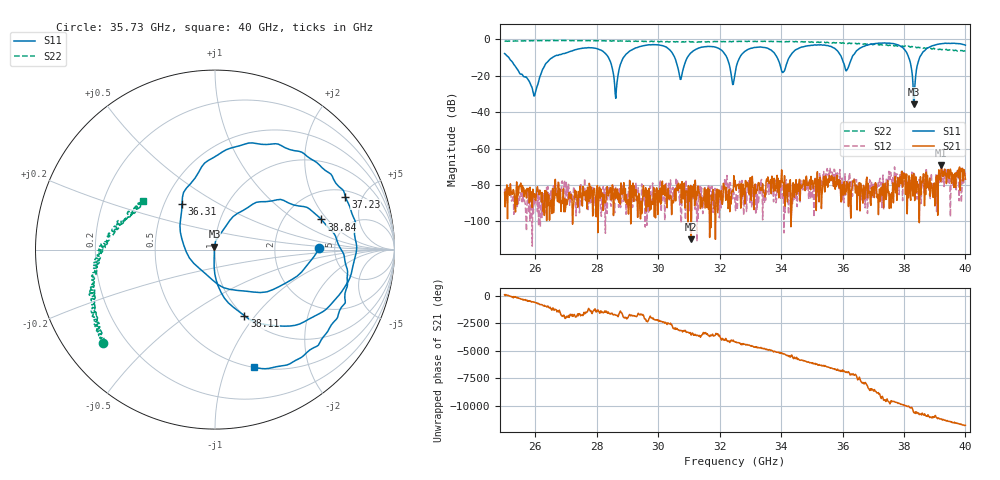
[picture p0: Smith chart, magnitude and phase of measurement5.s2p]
!Keysight Technologies,N5225A,MY55451607,A.10.47.03
!Date: Friday, May 31, 2024 11:14:08
!Correction: S11(Full 2 Port(1,2))
!S21(Full 2 Port(1,2))
!S12(Full 2 Port(1,2))
!S22(Full 2 Port(1,2))
!S2P File: Measurements: S11, S21, S12, S22:
# Hz S  RI  R 50
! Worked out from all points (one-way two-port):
!   801 points, 25 GHz to 40 GHz, reference 50 ohm
!   highest |S21| = -69.03 dB at 39.21 GHz (marker M1); lowest = -109.9 dB at 31.07 GHz (marker M2)
!   lowest |S11| = -35.7 dB at 38.33 GHz (marker M3), VSWR 1.03, Z = 49.7 + j1.59 ohm
!   |S11| at or under -10 dB: 25.14 GHz to 26.56 GHz (1.42 GHz wide, 5.49 % of centre); 28.38 GHz to 28.87 GHz (486.7 MHz wide, 1.7 % of centre); 32.24 GHz to 32.65 GHz (417.7 MHz wide, 1.29 % of centre) (the widest 3 of 7)
!   |S22| runs from -6.5 to -0.6 dB; largest |S21 - S12| = 0.00053
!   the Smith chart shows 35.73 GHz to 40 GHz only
!   S11 on the Smith chart (normalised r, x): 35.73 GHz: 3.73, +0.11; 36.31 GHz: 0.61, +0.35; 37.23 GHz: 2.38, +3.64; 38.11 GHz: 1.00, -0.88; 38.84 GHz: 3.20, +1.73; 40 GHz: 0.50, -1.26
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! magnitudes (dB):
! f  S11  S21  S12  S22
! 25 GHz  -7.8  -84.1  -82.0  -1.1
! 25.98 GHz  -30.9  -84.8  -91.1  -0.7
! 27.51 GHz  -4.9  -89.3  -88.2  -0.7
! 28.28 GHz  -7.8  -89.8  -106.5  -0.9
! 28.62 GHz  -32.4  -87.4  -80.7  -0.9
! 29.01 GHz  -7.4  -88.2  -92.3  -1.0
! 30.01 GHz  -3.0  -85.5  -84.8  -1.2
! 30.72 GHz  -22.0  -81.4  -85.1  -1.3
! 31.07 GHz  -7.3  -109.9  -80.5  -1.5
! 32.5 GHz  -18.8  -77.5  -88.8  -1.2
! 32.97 GHz  -5.2  -85.2  -86.4  -1.1
! 34.08 GHz  -18.0  -79.0  -85.0  -1.2
! 35.01 GHz  -3.3  -77.9  -87.3  -1.5
! 35.73 GHz  -4.8  -76.1  -71.4  -1.8
! 36.31 GHz  -10.0  -82.1  -79.2  -2.2
! 37.23 GHz  -2.1  -89.1  -76.3  -2.9
! 37.51 GHz  -2.1  -83.5  -72.5  -3.4
! 38.11 GHz  -7.9  -95.8  -85.2  -4.1
! 38.33 GHz  -35.7  -76.8  -73.7  -4.3
! 38.84 GHz  -4.2  -76.3  -86.2  -5.2
! 39.21 GHz  -2.4  -69.0  -71.8  -5.7
! 40 GHz  -3.2  -76.9  -73.6  -6.3
